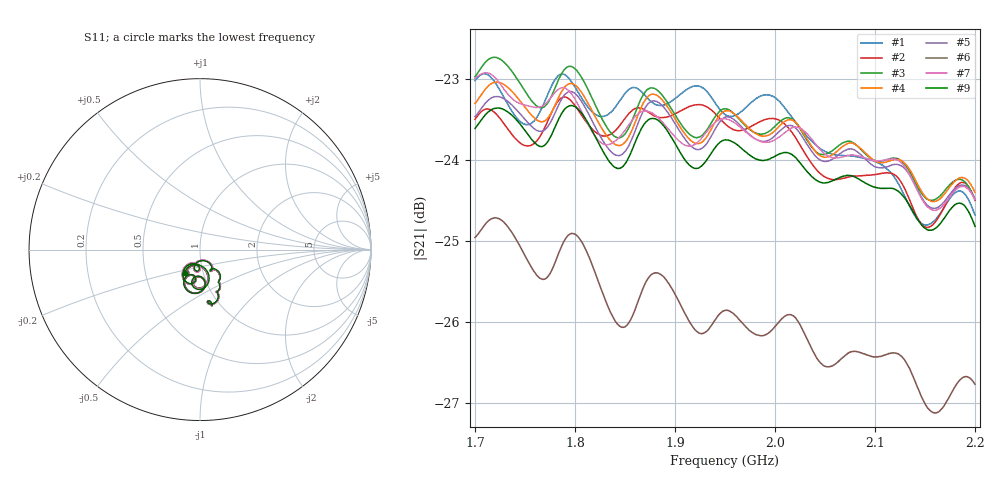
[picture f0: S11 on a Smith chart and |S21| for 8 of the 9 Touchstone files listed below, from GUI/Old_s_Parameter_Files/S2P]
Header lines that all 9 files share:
# Hz S RI R 50
! CMT, CMT808U, 21440046, 21.4.3/4
! Data: Format (Calibration Info)
! Freq	S11:Re/Im(F2)	S41:Re/Im(F2)	S14:Re/Im(F2)	S44:Re/Im(F2)
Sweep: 1.7 GHz to 2.2 GHz
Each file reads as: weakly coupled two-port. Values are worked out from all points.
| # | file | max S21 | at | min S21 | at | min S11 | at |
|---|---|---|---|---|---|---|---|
| 1 | Port1.s2p | -22.93 dB | 1.709 GHz | -24.8 dB | 2.151 GHz | -23.8 dB | 1.975 GHz |
| 2 | Port3.s2p | -23.22 dB | 1.789 GHz | -24.8 dB | 2.152 GHz | -24.0 dB | 1.975 GHz |
| 3 | Port5.s2p | -22.73 dB | 1.719 GHz | -24.5 dB | 2.157 GHz | -23.9 dB | 1.974 GHz |
| 4 | Port6.s2p | -23.03 dB | 1.722 GHz | -24.5 dB | 2.159 GHz | -23.9 dB | 1.974 GHz |
| 5 | Port7.s2p | -23.15 dB | 1.795 GHz | -24.6 dB | 2.159 GHz | -23.9 dB | 1.974 GHz |
| 6 | Port8.s2p | -24.71 dB | 1.72 GHz | -27.1 dB | 2.161 GHz | -23.9 dB | 1.974 GHz |
| 7 | Port9.s2p | -22.92 dB | 1.71 GHz | -24.6 dB | 2.159 GHz | -24.1 dB | 1.974 GHz |
| 8 | Port15.s2p | -23.24 dB | 1.796 GHz | -24.8 dB | 2.155 GHz | -23.7 dB | 1.974 GHz |
| 9 | Port16.s2p | -23.32 dB | 1.796 GHz | -24.9 dB | 2.154 GHz | -23.7 dB | 1.974 GHz |
